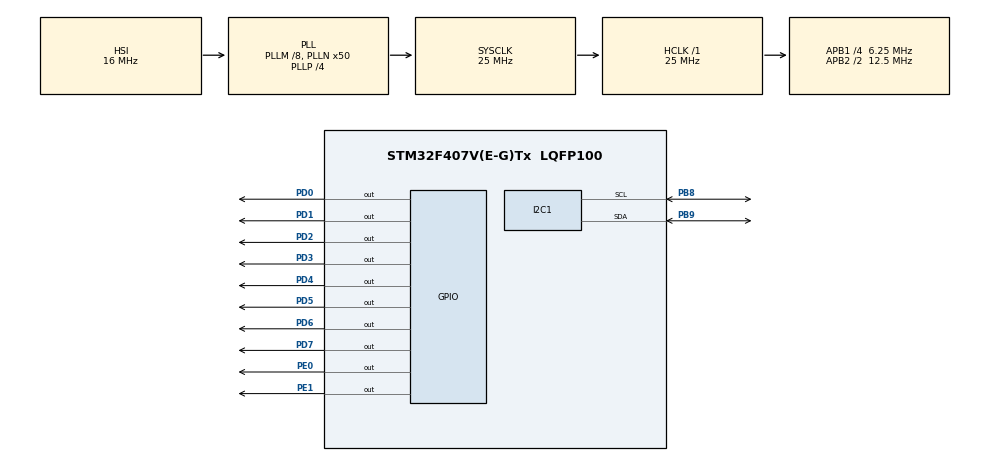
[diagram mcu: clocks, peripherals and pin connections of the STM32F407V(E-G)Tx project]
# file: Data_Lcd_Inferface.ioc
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Mcu.Family=STM32F4
Mcu.Name=STM32F407V(E-G)Tx
Mcu.Package=LQFP100
NVIC.PriorityGroup=NVIC_PRIORITYGROUP_0
PB8.Mode=I2C
PB8.Signal=I2C1_SCL
PB9.Mode=I2C
PB9.Signal=I2C1_SDA
PD0.Signal=GPIO_Output
PD1.Signal=GPIO_Output
PD2.Signal=GPIO_Output
PD3.Signal=GPIO_Output
PD4.Signal=GPIO_Output
PD5.Signal=GPIO_Output
PD6.Signal=GPIO_Output
PD7.Signal=GPIO_Output
PE0.GPIO_Speed=GPIO_SPEED_FREQ_MEDIUM
PE0.Signal=GPIO_Output
PE1.GPIO_Speed=GPIO_SPEED_FREQ_MEDIUM
PE1.Signal=GPIO_Output
ProjectManager.HeapSize=0x200
ProjectManager.StackSize=0x400
ProjectManager.TargetToolchain=STM32CubeIDE
RCC.48MHZClocksFreq_Value=14285714.285714285
RCC.AHBFreq_Value=25000000
RCC.APB1CLKDivider=RCC_HCLK_DIV4
RCC.APB1Freq_Value=6250000
RCC.APB1TimFreq_Value=12500000
RCC.APB2CLKDivider=RCC_HCLK_DIV2
RCC.APB2Freq_Value=12500000
RCC.APB2TimFreq_Value=25000000
RCC.CortexFreq_Value=25000000
RCC.HCLKFreq_Value=25000000
RCC.HSE_VALUE=8000000
RCC.HSI_VALUE=16000000
RCC.LSE_VALUE=32768
RCC.PLLM=8
RCC.PLLN=50
RCC.PLLP=RCC_PLLP_DIV4
RCC.PLLQ=7
RCC.SYSCLKFreq_VALUE=25000000
RCC.SYSCLKSource=RCC_SYSCLKSOURCE_PLLCLK
RCC.VCOOutputFreq_Value=100000000
board=STM32F407G-DISC1

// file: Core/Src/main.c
/* USER CODE BEGIN Header */
/**
  ******************************************************************************
  * @file           : main.c
  * @brief          : Main program body
  ******************************************************************************
  * @attention
  *
  * Copyright (c) 2026 STMicroelectronics.
  * All rights reserved.
  *
  * This software is licensed under terms that can be found in the LICENSE file
  * in the root directory of this software component.
  * If no LICENSE file comes with this software, it is provided AS-IS.
  *
  ******************************************************************************
  */
/* USER CODE END Header */
#include "main.h"

/* USER CODE BEGIN Includes */

#include <stdio.h>

/* USER CODE END Includes */

/* USER CODE BEGIN PD */
#define LCD_DATA_PORT GPIOD
#define LCD_CTRL_PORT GPIOE
#define LCD_RS_PIN    GPIO_PIN_0
#define LCD_E_PIN     GPIO_PIN_1
/* USER CODE END PD */

I2C_HandleTypeDef hi2c1;

void SystemClock_Config(void);
static void MX_GPIO_Init(void);
static void MX_I2C1_Init(void);
/* USER CODE BEGIN PFP */
void LCD_Delay_us(uint32_t us);
void LCD_EnablePulse(void);
void LCD_SendCommand(uint8_t cmd);
void LCD_SendData(uint8_t data);
void LCD_Init(void);
void LCD_SendString(const char *str);
void LCD_SetCursor(uint8_t row, uint8_t col);

#define ADXL345_I2C_ADDR      (0x53 << 1) // 0xA6
#define ADXL345_REG_POWER_CTL  0x2D
#define ADXL345_REG_DATA_FORMAT 0x31
#define ADXL345_REG_DATAX0     0x32

void ADXL345_Init(void);
void ADXL345_Read_Accel(int16_t *x, int16_t *y, int16_t *z);

/* USER CODE END PFP */

/* USER CODE BEGIN 0 */
void LCD_Delay_us(uint32_t us) {
    uint32_t count = us * (SystemCoreClock / 1000000U) / 5U;
    while(count--) { __NOP(); }
}

void LCD_EnablePulse(void) {
    HAL_GPIO_WritePin(LCD_CTRL_PORT, LCD_E_PIN, GPIO_PIN_SET);
    LCD_Delay_us(10);
    HAL_GPIO_WritePin(LCD_CTRL_PORT, LCD_E_PIN, GPIO_PIN_RESET);
    LCD_Delay_us(50);
}

void LCD_SendCommand(uint8_t cmd) {
    // RS = 0 for Command
    HAL_GPIO_WritePin(LCD_CTRL_PORT, LCD_RS_PIN, GPIO_PIN_RESET);

    // Write lower byte to PD0-PD7
    LCD_DATA_PORT->ODR = (LCD_DATA_PORT->ODR & 0xFF00) | cmd;

    LCD_EnablePulse();

    // Commands like Clear Display or Return Home need ~2ms to execute
    if (cmd == 0x01 || cmd == 0x02) {
        HAL_Delay(2);
    }
}

void LCD_SendData(uint8_t data) {
    // RS = 1 for Data
    HAL_GPIO_WritePin(LCD_CTRL_PORT, LCD_RS_PIN, GPIO_PIN_SET);

    // Write lower byte to PD0-PD7
    LCD_DATA_PORT->ODR = (LCD_DATA_PORT->ODR & 0xFF00) | data;

    LCD_EnablePulse();
}

void LCD_Init(void) {
    // Wait >15ms after power-on
    HAL_Delay(50);

    // Function set: 8-bit mode, 2 lines, 5x8 font
    LCD_SendCommand(0x38);
    HAL_Delay(5);

    LCD_SendCommand(0x38);
    LCD_Delay_us(150);

    LCD_SendCommand(0x38);

    // Display ON, Cursor OFF, Blink OFF
    LCD_SendCommand(0x0C);

    // Clear Display
    LCD_SendCommand(0x01);

    // Entry Mode Set: Increment cursor, no shift
    LCD_SendCommand(0x06);
}

void LCD_SendString(const char *str) {
    while (*str) {
        LCD_SendData((uint8_t)(*str++));
    }
}

void LCD_SetCursor(uint8_t row, uint8_t col) {
    uint8_t address = (row == 0) ? (0x80 + col) : (0xC0 + col);
    LCD_SendCommand(address);
}
/* USER CODE END 0 */

int main(void)
{

  /* MCU Configuration--------------------------------------------------------*/

  /* Reset of all peripherals, Initializes the Flash interface and the Systick. */
  HAL_Init();

  /* Configure the system clock */
  SystemClock_Config();

  /* Initialize all configured peripherals */
  MX_GPIO_Init();
  MX_I2C1_Init();
  /* USER CODE BEGIN 2 */
  // Initialize LCD controller in 8-bit mode
  LCD_Init();

  // Write text on Line 1
  LCD_SetCursor(0, 0);
  LCD_SendString(" INTEGRATION OF ");

  // Write text on Line 2
  LCD_SetCursor(1, 0);
  LCD_SendString("16x2 WITH STM32 ");

  LCD_Init();
  ADXL345_Init();

  uint8_t dev_id = 0;
  HAL_I2C_Mem_Read(&hi2c1, ADXL345_I2C_ADDR, 0x00, 1, &dev_id, 1, 100);

  if (dev_id == 0xE5) {
      LCD_SetCursor(0, 0);
      LCD_SendString("Sensor Connected");
      HAL_Delay(1000);
  } else {
      char err_buf[17];
      snprintf(err_buf, sizeof(err_buf), "Err ID: 0x%02X", dev_id);
      LCD_SetCursor(0, 0);
      LCD_SendString(err_buf);
      while(1); // Stop execution to signal setup fault
  }

  LCD_SetCursor(0, 0);
  LCD_SendString(" ADXL345 Ready ");
  HAL_Delay(1000);
  LCD_SendCommand(0x01); // Clear screen

  /* USER CODE END 2 */

  /* Infinite loop */
  while (1)
  {

	  int16_t x_raw = 0, y_raw = 0, z_raw = 0;
	      float x_g = 0.0, y_g = 0.0, z_g = 0.0;
	      char buf[17];

	      ADXL345_Read_Accel(&x_raw, &y_raw, &z_raw);

	      // Convert raw counts to g-force
	      x_g = x_raw * 0.0039f;
	      y_g = y_raw * 0.0039f;
	      z_g = z_raw * 0.0039f;

	      // Line 1: X and Y readings
	      snprintf(buf, sizeof(buf), "X:%.2f  Y:%.2f", x_g, y_g);
	      LCD_SetCursor(0, 0);
	      LCD_SendString(buf);

	      // Line 2: Z reading
	      snprintf(buf, sizeof(buf), "Z:%.2f g        ", z_g);
	      LCD_SetCursor(1, 0);
	      LCD_SendString(buf);

	      HAL_Delay(200);
	      /* USER CODE END WHILE */

  }
}

void SystemClock_Config(void)
{
  RCC_OscInitTypeDef RCC_OscInitStruct = {0};
  RCC_ClkInitTypeDef RCC_ClkInitStruct = {0};

  /** Configure the main internal regulator output voltage
  */
  __HAL_RCC_PWR_CLK_ENABLE();
  __HAL_PWR_VOLTAGESCALING_CONFIG(PWR_REGULATOR_VOLTAGE_SCALE1);

  /** Initializes the RCC Oscillators according to the specified parameters
  * in the RCC_OscInitTypeDef structure.
  */
  RCC_OscInitStruct.OscillatorType = RCC_OSCILLATORTYPE_HSI;
  RCC_OscInitStruct.HSIState = RCC_HSI_ON;
  RCC_OscInitStruct.HSICalibrationValue = RCC_HSICALIBRATION_DEFAULT;
  RCC_OscInitStruct.PLL.PLLState = RCC_PLL_ON;
  RCC_OscInitStruct.PLL.PLLSource = RCC_PLLSOURCE_HSI;
  RCC_OscInitStruct.PLL.PLLM = 8;
  RCC_OscInitStruct.PLL.PLLN = 50;
  RCC_OscInitStruct.PLL.PLLP = RCC_PLLP_DIV4;
  RCC_OscInitStruct.PLL.PLLQ = 7;
  if (HAL_RCC_OscConfig(&RCC_OscInitStruct) != HAL_OK)
  {
    Error_Handler();
  }

  /** Initializes the CPU, AHB and APB buses clocks
  */
  RCC_ClkInitStruct.ClockType = RCC_CLOCKTYPE_HCLK|RCC_CLOCKTYPE_SYSCLK
                              |RCC_CLOCKTYPE_PCLK1|RCC_CLOCKTYPE_PCLK2;
  RCC_ClkInitStruct.SYSCLKSource = RCC_SYSCLKSOURCE_PLLCLK;
  RCC_ClkInitStruct.AHBCLKDivider = RCC_SYSCLK_DIV1;
  RCC_ClkInitStruct.APB1CLKDivider = RCC_HCLK_DIV4;
  RCC_ClkInitStruct.APB2CLKDivider = RCC_HCLK_DIV2;

  if (HAL_RCC_ClockConfig(&RCC_ClkInitStruct, FLASH_LATENCY_0) != HAL_OK)
  {
    Error_Handler();
  }
}

static void MX_I2C1_Init(void)
{

  hi2c1.Instance = I2C1;
  hi2c1.Init.ClockSpeed = 100000;
  hi2c1.Init.DutyCycle = I2C_DUTYCYCLE_2;
  hi2c1.Init.OwnAddress1 = 0;
  hi2c1.Init.AddressingMode = I2C_ADDRESSINGMODE_7BIT;
  hi2c1.Init.DualAddressMode = I2C_DUALADDRESS_DISABLE;
  hi2c1.Init.OwnAddress2 = 0;
  hi2c1.Init.GeneralCallMode = I2C_GENERALCALL_DISABLE;
  hi2c1.Init.NoStretchMode = I2C_NOSTRETCH_DISABLE;
  if (HAL_I2C_Init(&hi2c1) != HAL_OK)
  {
    Error_Handler();
  }

}

static void MX_GPIO_Init(void)
{
  GPIO_InitTypeDef GPIO_InitStruct = {0};

  /* GPIO Ports Clock Enable */
  __HAL_RCC_GPIOD_CLK_ENABLE();
  __HAL_RCC_GPIOB_CLK_ENABLE();
  __HAL_RCC_GPIOE_CLK_ENABLE();

  /*Configure GPIO pin Output Level */
  HAL_GPIO_WritePin(GPIOD, GPIO_PIN_0|GPIO_PIN_1|GPIO_PIN_2|GPIO_PIN_3
                          |GPIO_PIN_4|GPIO_PIN_5|GPIO_PIN_6|GPIO_PIN_7, GPIO_PIN_RESET);

  /*Configure GPIO pin Output Level */
  HAL_GPIO_WritePin(GPIOE, GPIO_PIN_0|GPIO_PIN_1, GPIO_PIN_RESET);

  /*Configure GPIO pins : PD0 PD1 PD2 PD3
                           PD4 PD5 PD6 PD7 */
  GPIO_InitStruct.Pin = GPIO_PIN_0|GPIO_PIN_1|GPIO_PIN_2|GPIO_PIN_3
                          |GPIO_PIN_4|GPIO_PIN_5|GPIO_PIN_6|GPIO_PIN_7;
  GPIO_InitStruct.Mode = GPIO_MODE_OUTPUT_PP;
  GPIO_InitStruct.Pull = GPIO_NOPULL;
  GPIO_InitStruct.Speed = GPIO_SPEED_FREQ_LOW;
  HAL_GPIO_Init(GPIOD, &GPIO_InitStruct);

  /*Configure GPIO pins : PE0 PE1 */
  GPIO_InitStruct.Pin = GPIO_PIN_0|GPIO_PIN_1;
  GPIO_InitStruct.Mode = GPIO_MODE_OUTPUT_PP;
  GPIO_InitStruct.Pull = GPIO_NOPULL;
  GPIO_InitStruct.Speed = GPIO_SPEED_FREQ_MEDIUM;
  HAL_GPIO_Init(GPIOE, &GPIO_InitStruct);

}

/* USER CODE BEGIN 4 */

/* USER CODE BEGIN 4 */
void ADXL345_Init(void) {
    uint8_t data = 0x01; // +-4g range, full resolution
    HAL_I2C_Mem_Write(&hi2c1, ADXL345_I2C_ADDR, ADXL345_REG_DATA_FORMAT, 1, &data, 1, HAL_MAX_DELAY);

    data = 0x08; // Enable measurement mode
    HAL_I2C_Mem_Write(&hi2c1, ADXL345_I2C_ADDR, ADXL345_REG_POWER_CTL, 1, &data, 1, HAL_MAX_DELAY);
}

void ADXL345_Read_Accel(int16_t *x, int16_t *y, int16_t *z) {
    uint8_t buffer[6];
    if (HAL_I2C_Mem_Read(&hi2c1, ADXL345_I2C_ADDR, ADXL345_REG_DATAX0,
                             I2C_MEMADD_SIZE_8BIT, buffer, 6, 100) == HAL_OK)
        {
            *x = (int16_t)((buffer[1] << 8) | buffer[0]);
            *y = (int16_t)((buffer[3] << 8) | buffer[2]);
            *z = (int16_t)((buffer[5] << 8) | buffer[4]);
        }
    }
/* USER CODE END 4 */

/* USER CODE END 4 */

void Error_Handler(void)
{
  __disable_irq();
  while (1)
  {
  }
}
